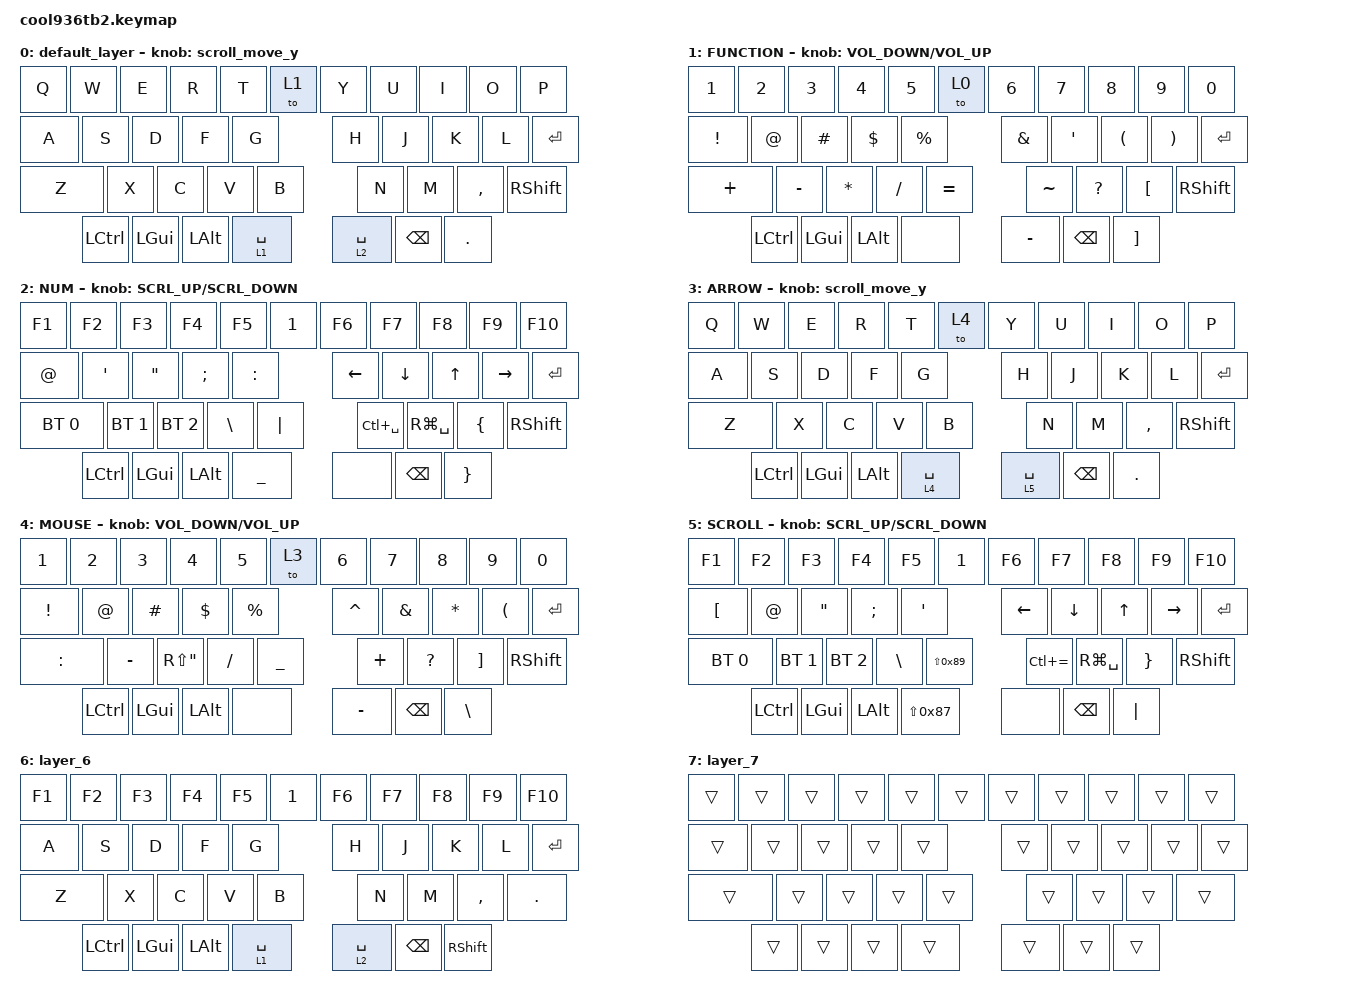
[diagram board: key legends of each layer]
#include <behaviors.dtsi>
#include <dt-bindings/zmk/bt.h>
#include <dt-bindings/zmk/keys.h>
#include <dt-bindings/zmk/pointing.h>

#define ZMK_MOUSE_DEFAULT_SCRL_VAL 100
#define MOUSE 4
#define SCROLL 5
#define NUM 6

// OS設定を日本語キーボードのまま使用するための変換定義

#define JP_DQUOTE       AT                // "
#define JP_AMPERSAND    CARET             // &
#define JP_QUOTE        AMPERSAND         // '
#define JP_EQUAL        UNDER             // =
#define JP_CARET        EQUAL             // ^
#define JP_YEN          0x89              // ¥
#define JP_PLUS         COLON             // +
#define JP_TILDE        PLUS              // ~
#define JP_PIPE         LS(0x89)          // |
#define JP_AT           LEFT_BRACKET      // @
#define JP_COLON        SINGLE_QUOTE      // :
#define JP_ASTERISK     DOUBLE_QUOTES     // *
#define JP_BACKQUOTE    LEFT_BRACE        // `
#define JP_UNDERSCORE   LS(0x87)          // _
#define JP_LBRACKET     RIGHT_BRACKET     // [
#define JP_RBRACKET     BACKSLASH         // ]
#define JP_LPAREN       ASTERISK          // (
#define JP_RPAREN       LEFT_PARENTHESIS  // )
#define JP_LBRACE       RIGHT_BRACE       // {
#define JP_RBRACE       PIPE              // }
#define JP_KANA         LANGUAGE_1        // かな
#define JP_EISU         LANGUAGE_2        // 英数
#define JP_HANZEN       GRAVE             // 半角/全角

&mt {
    flavor = "balanced";
    quick-tap-ms = <0>;
};

&msc {
};

&mmv {
};

/ {
    combos {
        compatible = "zmk,combos";

        Esc {
            bindings = <&kp LS(ESC)>;
            key-positions = <0 1>;
        };

        Tab {
            bindings = <&kp TAB>;
            key-positions = <12 11>;
        };

        CapsLock {
            bindings = <&kp CAPS>;
            key-positions = <22 21>;
        };

        eq {
            bindings = <&bt BT_CLR_ALL>;
            key-positions = <9 10>;
            layers = <1>;
        };

        BS {
            bindings = <&kp BACKSPACE>;
            key-positions = <9 10>;
            layers = <0>;
        };

        MS_UP {
            bindings = <&msc SCRL_UP>;
            key-positions = <6 7>;
            layers = <1>;
        };

        MS_DOWN {
            bindings = <&msc SCRL_DOWN>;
            key-positions = <4 3>;
            layers = <1>;
        };

        V_UP {
            bindings = <&kp C_VOLUME_UP>;
            key-positions = <6 7>;
            layers = <2>;
        };

        V_DOWN {
            bindings = <&kp C_VOLUME_DOWN>;
            key-positions = <4 3>;
            layers = <2>;
        };

        MB1_M {
            bindings = <&mkp MB1>;
            key-positions = <32 33>;
        };

        MB2_M {
            bindings = <&mkp MB2>;
            key-positions = <32 31>;
        };

        LANG1_ {
            bindings = <&kp LANGUAGE_1>;
            key-positions = <36 35>;
            layers = <0 3>;
        };

        LANG2_ {
            bindings = <&kp LANGUAGE_2>;
            key-positions = <30 31>;
            layers = <0 3>;
        };

        To_JIS {
            bindings = <&to 3>;
            key-positions = <0 11 21>;
            layers = <1>;
        };

        To_US {
            bindings = <&to 0>;
            key-positions = <0 11 21>;
            layers = <4>;
        };
    };

    macros {
        to_layer_0: to_layer_0 {
            compatible = "zmk,behavior-macro-one-param";
            #binding-cells = <1>;
            bindings = <&to 0 &macro_param_1to1 &kp MACRO_PLACEHOLDER>;
            label = "TO_LAYER_0";
        };
    };

    behaviors {
        lt_to_layer_0: lt_to_layer_0 {
            compatible = "zmk,behavior-hold-tap";
            label = "LAYER_TAP_TO_0";
            bindings = <&mo>, <&to_layer_0>;

            #binding-cells = <2>;
            tapping-term-ms = <200>;
        };

        scroll_up_down: behavior_sensor_rotate_mouse_wheel_up_down {
            compatible = "zmk,behavior-sensor-rotate";
            #sensor-binding-cells = <0>;
            bindings = <&msc SCRL_UP>, <&msc SCRL_DOWN>;

            tap-ms = <20>;
        };

        // エンコーダー：キー

        rot_kp: sensor_rotate_kp {
            compatible = "zmk,behavior-sensor-rotate-var";
            #sensor-binding-cells = <2>;
            bindings = <&kp>, <&kp>;
        };

        // エンコーダー：マウススクロール 

        rot_msc: sensor_rotate_msc {
            compatible = "zmk,behavior-sensor-rotate-var";
            #sensor-binding-cells = <2>;
            tap-ms = <20>;
            bindings = <&msc>, <&msc>;
        };

        // エンコーダー：マウススクロール(MOVE_Y)

        scroll_move_y: sensor_rotate_msc_for_move_y {
            compatible = "zmk,behavior-sensor-rotate";
            #sensor-binding-cells = <0>;
            bindings = <&msc MOVE_Y(20)>, <&msc MOVE_Y(-20)>;

            // tap-ms下限メモ Yの値で可変: Y(15) <81>, Y(20) <65>, Y(25) <49>

            tap-ms = <65>;
        };

        // エンコーダー：マウススクロール(MOVE_X)

        scroll_move_x: sensor_rotate_msc_for_move_x {
            compatible = "zmk,behavior-sensor-rotate";
            #sensor-binding-cells = <0>;
            bindings = <&msc MOVE_X(20)>, <&msc MOVE_X(-20)>;

            // tap-ms下限メモ Xの値で可変: X(15) <81>, X(20) <65>, X(25) <49>

            tap-ms = <65>;
        };
    };

    keymap {
        compatible = "zmk,keymap";

        default_layer {
            bindings = <
&kp Q      &kp W     &kp E     &kp R        &kp T  &to 1        &kp Y     &kp U       &kp I            &kp O      &kp P
&kp A      &kp S     &kp D     &kp F        &kp G  &kp H        &kp J     &kp K       &kp L            &kp ENTER
&kp Z      &kp X     &kp C     &kp V        &kp B  &kp N        &kp M     &kp COMMA   &kp RIGHT_SHIFT
&kp LCTRL  &kp LGUI  &kp LALT  &lt 1 SPACE         &lt 2 SPACE  &kp BSPC  &kp PERIOD
            >;

            sensor-bindings = <&scroll_move_y>;
        };

        FUNCTION {
            bindings = <
&kp N1           &kp N2        &kp N3        &kp N4      &kp N5       &to 0          &kp N6         &kp N7                &kp N8                 &kp N9     &kp N0
&kp EXCLAMATION  &kp AT_SIGN   &kp HASH      &kp DOLLAR  &kp PERCENT  &kp AMPERSAND  &kp SQT        &kp LEFT_PARENTHESIS  &kp RIGHT_PARENTHESIS  &kp ENTER
&kp PLUS         &kp MINUS     &kp ASTERISK  &kp SLASH   &kp EQUAL    &kp TILDE      &kp QUESTION   &kp LEFT_BRACKET      &kp RSHIFT
&kp LCTRL        &kp LEFT_GUI  &kp LALT      &none                    &kp MINUS      &kp BACKSPACE  &kp RIGHT_BRACKET
            >;

            sensor-bindings = <&inc_dec_kp C_VOLUME_DOWN C_VOLUME_UP>;
        };

        NUM {
            bindings = <
&kp F1        &kp F2        &kp F3             &kp F4          &kp F5     &kp N1         &kp F6          &kp F7           &kp F8           &kp F9     &kp F10
&kp AT_SIGN   &kp SQT       &kp DOUBLE_QUOTES  &kp SEMICOLON   &kp COLON  &kp LEFT       &kp DOWN_ARROW  &kp UP_ARROW     &kp RIGHT        &kp ENTER
&bt BT_SEL 0  &bt BT_SEL 1  &bt BT_SEL 2       &kp BACKSLASH   &kp PIPE   &kp LC(SPACE)  &kp RG(SPACE)   &kp LEFT_BRACE   &kp RIGHT_SHIFT
&kp LCTRL     &kp LGUI      &kp LALT           &kp UNDERSCORE             &none          &kp BSPC        &kp RIGHT_BRACE
            >;

            sensor-bindings = <&rot_msc SCRL_UP SCRL_DOWN>;
        };

        ARROW {
            bindings = <
&kp Q      &kp W     &kp E     &kp R        &kp T  &to 4       &kp Y     &kp U       &kp I            &kp O      &kp P
&kp A      &kp S     &kp D     &kp F        &kp G  &kp H        &kp J     &kp K       &kp L            &kp ENTER
&kp Z      &kp X     &kp C     &kp V        &kp B  &kp N        &kp M     &kp COMMA   &kp RIGHT_SHIFT
&kp LCTRL  &kp LGUI  &kp LALT  &lt 4 SPACE         &lt 5 SPACE  &kp BSPC  &kp PERIOD
            >;
            sensor-bindings = <&scroll_move_y>;
        };

        MOUSE {
            bindings = <
&kp N1           &kp N2        &kp N3                 &kp N4      &kp N5          &to 3      &kp N6         &kp N7             &kp N8                &kp N9     &kp N0
&kp EXCLAMATION  &kp AT_SIGN   &kp HASH               &kp DOLLAR  &kp PERCENT     &kp CARET  &kp AMPERSAND  &kp ASTERISK       &kp LEFT_PARENTHESIS  &kp ENTER
&kp COLON        &kp MINUS     &kp RS(DOUBLE_QUOTES)  &kp SLASH   &kp UNDERSCORE  &kp PLUS   &kp QUESTION   &kp RIGHT_BRACKET  &kp RSHIFT
&kp LCTRL        &kp LEFT_GUI  &kp LALT               &none                       &kp MINUS  &kp BACKSPACE  &kp BACKSLASH
            >;

            sensor-bindings = <&inc_dec_kp C_VOLUME_DOWN C_VOLUME_UP>;
        };

        SCROLL {
            bindings = <
&kp F1            &kp F2        &kp F3             &kp F4             &kp F5       &kp N1         &kp F6          &kp F7           &kp F8           &kp F9     &kp F10
&kp LEFT_BRACKET  &kp AT_SIGN   &kp DOUBLE_QUOTES  &kp SEMICOLON      &kp SQT      &kp LEFT       &kp DOWN_ARROW  &kp UP_ARROW     &kp RIGHT        &kp ENTER
&bt BT_SEL 0      &bt BT_SEL 1  &bt BT_SEL 2       &kp BACKSLASH      &kp JP_PIPE  &kp LC(EQUAL)  &kp RG(SPACE)   &kp RIGHT_BRACE  &kp RIGHT_SHIFT
&kp LCTRL         &kp LGUI      &kp LALT           &kp LS(0x87)               &none          &kp BSPC        &kp PIPE
            >;

            sensor-bindings = <&rot_msc SCRL_UP SCRL_DOWN>;
        };

        layer_6 {
            bindings = <
&kp F1     &kp F2    &kp F3    &kp F4       &kp F5  &kp N1       &kp F6    &kp F7      &kp F8      &kp F9     &kp F10
&kp A      &kp S     &kp D     &kp F        &kp G   &kp H        &kp J     &kp K       &kp L       &kp ENTER
&kp Z      &kp X     &kp C     &kp V        &kp B   &kp N        &kp M     &kp COMMA   &kp PERIOD
&kp LCTRL  &kp LGUI  &kp LALT  &lt 1 SPACE          &lt 2 SPACE  &kp BSPC  &kp RSHIFT
            >;
        };

        layer_7 {
            bindings = <
&trans  &trans  &trans  &trans  &trans  &trans  &trans  &trans  &trans  &trans  &trans
&trans  &trans  &trans  &trans  &trans  &trans  &trans  &trans  &trans  &trans
&trans  &trans  &trans  &trans  &trans  &trans  &trans  &trans  &trans
&trans  &trans  &trans  &trans          &trans  &trans  &trans
            >;
        };
    };
};

